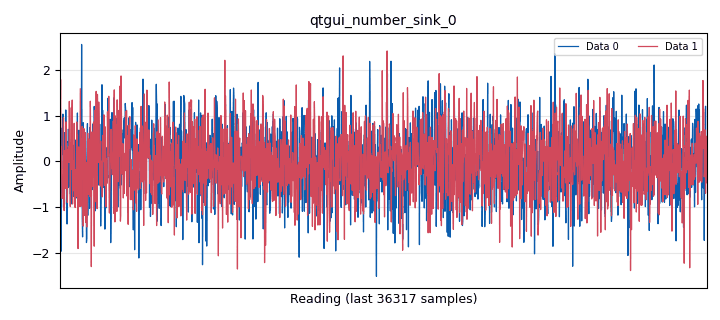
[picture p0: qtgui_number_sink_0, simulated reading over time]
<?xml version='1.0' encoding='utf-8'?>
<?grc format='1' created='3.7.8'?>
<flow_graph>
<block>
<key>options</key>
<param><key>id</key><value>top_block</value></param>
<param><key>category</key><value>Custom</value></param>
<param><key>generate_options</key><value>qt_gui</value></param>
</block>
<block>
<key>variable</key>
<param><key>id</key><value>samp_rate</value></param>
<param><key>value</key><value>32000</value></param>
</block>
<block>
<key>analog_noise_source_x</key>
<param><key>id</key><value>analog_noise_source_x_0</value></param>
<param><key>amp</key><value>1</value></param>
<param><key>noise_type</key><value>analog.GR_GAUSSIAN</value></param>
<param><key>type</key><value>complex</value></param>
<param><key>seed</key><value>0</value></param>
</block>
<block>
<key>blocks_complex_to_float</key>
<param><key>id</key><value>blocks_complex_to_float_0</value></param>
</block>
<block>
<key>blocks_message_debug</key>
<param><key>id</key><value>blocks_message_debug_0</value></param>
<param><key>comment</key><value>signal</value></param>
</block>
<block>
<key>blocks_message_debug</key>
<param><key>id</key><value>blocks_message_debug_0_0</value></param>
<param><key>comment</key><value>noise</value></param>
</block>
<block>
<key>blocks_message_debug</key>
<param><key>id</key><value>blocks_message_debug_0_1</value></param>
<param><key>comment</key><value>snr</value></param>
</block>
<block>
<key>blocks_throttle</key>
<param><key>id</key><value>blocks_throttle_0</value></param>
<param><key>samples_per_second</key><value>samp_rate</value></param>
<param><key>type</key><value>complex</value></param>
</block>
<block>
<key>digital_mpsk_snr_est_cc</key>
<param><key>id</key><value>digital_mpsk_snr_est_cc_0</value></param>
<param><key>alpha</key><value>0.001</value></param>
<param><key>tag_nsamples</key><value>10000</value></param>
<param><key>type</key><value>0</value></param>
</block>
<block>
<key>digital_probe_mpsk_snr_est_c</key>
<param><key>id</key><value>digital_probe_mpsk_snr_est_c_0</value></param>
<param><key>alpha</key><value>0.001</value></param>
<param><key>msg_nsamples</key><value>10000</value></param>
<param><key>type</key><value>0</value></param>
</block>
<block>
<key>qtgui_number_sink</key>
<param><key>id</key><value>qtgui_number_sink_0</value></param>
<param><key>graph_type</key><value>qtgui.NUM_GRAPH_VERT</value></param>
<param><key>type</key><value>float</value></param>
<param><key>nconnections</key><value>2</value></param>
</block>
<connection><source_block_id>analog_noise_source_x_0</source_block_id><sink_block_id>blocks_throttle_0</sink_block_id><source_key>0</source_key><sink_key>0</sink_key></connection>
<connection><source_block_id>blocks_complex_to_float_0</source_block_id><sink_block_id>qtgui_number_sink_0</sink_block_id><source_key>1</source_key><sink_key>1</sink_key></connection>
<connection><source_block_id>blocks_complex_to_float_0</source_block_id><sink_block_id>qtgui_number_sink_0</sink_block_id><source_key>0</source_key><sink_key>0</sink_key></connection>
<connection><source_block_id>blocks_throttle_0</source_block_id><sink_block_id>digital_mpsk_snr_est_cc_0</sink_block_id><source_key>0</source_key><sink_key>0</sink_key></connection>
<connection><source_block_id>blocks_throttle_0</source_block_id><sink_block_id>digital_probe_mpsk_snr_est_c_0</sink_block_id><source_key>0</source_key><sink_key>0</sink_key></connection>
<connection><source_block_id>digital_mpsk_snr_est_cc_0</source_block_id><sink_block_id>blocks_complex_to_float_0</sink_block_id><source_key>0</source_key><sink_key>0</sink_key></connection>
<connection><source_block_id>digital_probe_mpsk_snr_est_c_0</source_block_id><sink_block_id>blocks_message_debug_0_0</sink_block_id><source_key>noise</source_key><sink_key>print_pdu</sink_key></connection>
<connection><source_block_id>digital_probe_mpsk_snr_est_c_0</source_block_id><sink_block_id>blocks_message_debug_0</sink_block_id><source_key>signal</source_key><sink_key>store</sink_key></connection>
<connection><source_block_id>digital_probe_mpsk_snr_est_c_0</source_block_id><sink_block_id>blocks_message_debug_0_1</sink_block_id><source_key>snr</source_key><sink_key>print</sink_key></connection>
</flow_graph>
